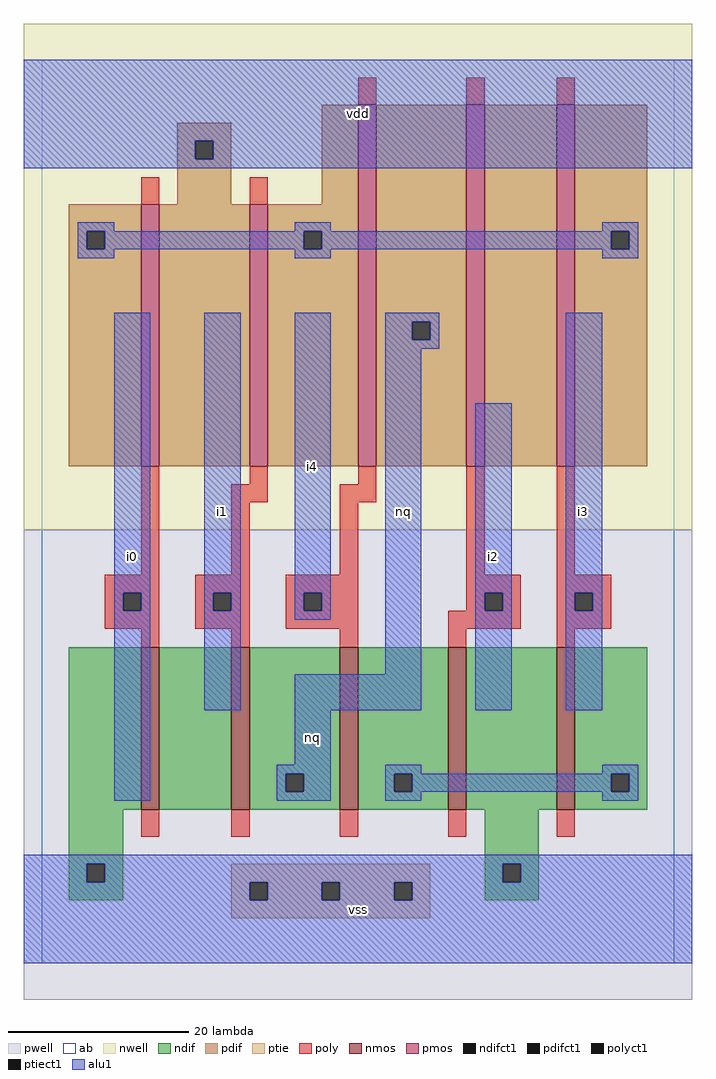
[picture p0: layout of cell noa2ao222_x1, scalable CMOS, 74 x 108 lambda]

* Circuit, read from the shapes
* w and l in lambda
.subckt noa2ao222_x1 i0 i1 i2 i3 i4 nq vdd vss
M1 n1 i0 vss vss nfet w=18 l=2
M2 nq i1 n1 vss nfet w=18 l=2
M3 n2 i4 nq vss nfet w=18 l=2
M4 vss i2 n2 vss nfet w=18 l=2
M5 n2 i3 vss vss nfet w=18 l=2
M6 vdd i0 n3 n4 pfet w=29 l=2
M7 n3 i1 vdd n4 pfet w=29 l=2
M8 nq i4 n3 n4 pfet w=40 l=2
M9 n5 i2 nq n4 pfet w=40 l=2
M10 n3 i3 n5 n4 pfet w=40 l=2
.ends

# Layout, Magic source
magic
tech scmos
<< ab >>
rect 0 0 70 100
<< nwell >>
rect -2 48 72 104
<< pwell >>
rect -2 -4 72 48
<< poly >>
rect 35 95 37 98
rect 47 95 49 98
rect 57 95 59 98
rect 11 84 13 87
rect 23 84 25 87
rect 11 43 13 55
rect 23 53 25 55
rect 35 53 37 55
rect 21 51 25 53
rect 33 51 37 53
rect 21 43 23 51
rect 33 43 35 51
rect 7 41 13 43
rect 7 39 9 41
rect 11 39 13 41
rect 7 37 13 39
rect 17 41 23 43
rect 17 39 19 41
rect 21 39 23 41
rect 17 37 23 39
rect 27 41 35 43
rect 27 39 29 41
rect 31 39 35 41
rect 47 43 49 55
rect 57 43 59 55
rect 47 41 53 43
rect 47 39 49 41
rect 51 39 53 41
rect 27 37 35 39
rect 11 35 13 37
rect 21 35 23 37
rect 33 35 35 37
rect 45 37 53 39
rect 57 41 63 43
rect 57 39 59 41
rect 61 39 63 41
rect 57 37 63 39
rect 45 35 47 37
rect 57 35 59 37
rect 11 14 13 17
rect 21 14 23 17
rect 33 14 35 17
rect 45 14 47 17
rect 57 14 59 17
<< ndif >>
rect 3 17 11 35
rect 13 17 21 35
rect 23 21 33 35
rect 23 19 27 21
rect 29 19 33 21
rect 23 17 33 19
rect 35 21 45 35
rect 35 19 39 21
rect 41 19 45 21
rect 35 17 45 19
rect 47 17 57 35
rect 59 21 67 35
rect 59 19 63 21
rect 65 19 67 21
rect 59 17 67 19
rect 3 11 9 17
rect 49 11 55 17
rect 3 9 5 11
rect 7 9 9 11
rect 3 7 9 9
rect 49 9 51 11
rect 53 9 55 11
rect 49 7 55 9
<< pdif >>
rect 15 91 21 93
rect 15 89 17 91
rect 19 89 21 91
rect 15 84 21 89
rect 31 84 35 95
rect 3 81 11 84
rect 3 79 5 81
rect 7 79 11 81
rect 3 55 11 79
rect 13 55 23 84
rect 25 81 35 84
rect 25 79 29 81
rect 31 79 35 81
rect 25 55 35 79
rect 37 71 47 95
rect 37 69 41 71
rect 43 69 47 71
rect 37 55 47 69
rect 49 55 57 95
rect 59 81 67 95
rect 59 79 63 81
rect 65 79 67 81
rect 59 55 67 79
<< alu1 >>
rect -2 91 72 100
rect -2 89 17 91
rect 19 89 72 91
rect -2 88 72 89
rect 4 81 8 82
rect 28 81 32 82
rect 62 81 66 82
rect 4 79 5 81
rect 7 79 29 81
rect 31 79 63 81
rect 65 79 66 81
rect 4 78 8 79
rect 28 78 32 79
rect 62 78 66 79
rect 8 41 12 72
rect 8 39 9 41
rect 11 39 12 41
rect 8 18 12 39
rect 18 41 22 72
rect 18 39 19 41
rect 21 39 22 41
rect 18 28 22 39
rect 28 41 32 72
rect 28 39 29 41
rect 31 39 32 41
rect 28 38 32 39
rect 38 71 44 72
rect 38 69 41 71
rect 43 69 44 71
rect 38 68 44 69
rect 38 32 42 68
rect 28 28 42 32
rect 48 41 52 62
rect 48 39 49 41
rect 51 39 52 41
rect 48 28 52 39
rect 58 41 62 72
rect 58 39 59 41
rect 61 39 62 41
rect 58 28 62 39
rect 28 22 32 28
rect 26 21 32 22
rect 26 19 27 21
rect 29 19 32 21
rect 26 18 32 19
rect 38 21 42 22
rect 62 21 66 22
rect 38 19 39 21
rect 41 19 63 21
rect 65 19 66 21
rect 38 18 42 19
rect 62 18 66 19
rect -2 11 72 12
rect -2 9 5 11
rect 7 9 51 11
rect 53 9 72 11
rect -2 7 23 9
rect 25 7 31 9
rect 33 7 39 9
rect 41 7 72 9
rect -2 0 72 7
<< ptie >>
rect 21 9 43 11
rect 21 7 23 9
rect 25 7 31 9
rect 33 7 39 9
rect 41 7 43 9
rect 21 5 43 7
<< nmos >>
rect 11 17 13 35
rect 21 17 23 35
rect 33 17 35 35
rect 45 17 47 35
rect 57 17 59 35
<< pmos >>
rect 11 55 13 84
rect 23 55 25 84
rect 35 55 37 95
rect 47 55 49 95
rect 57 55 59 95
<< polyct1 >>
rect 9 39 11 41
rect 19 39 21 41
rect 29 39 31 41
rect 49 39 51 41
rect 59 39 61 41
<< ndifct1 >>
rect 27 19 29 21
rect 39 19 41 21
rect 63 19 65 21
rect 5 9 7 11
rect 51 9 53 11
<< ptiect1 >>
rect 23 7 25 9
rect 31 7 33 9
rect 39 7 41 9
<< pdifct1 >>
rect 17 89 19 91
rect 5 79 7 81
rect 29 79 31 81
rect 41 69 43 71
rect 63 79 65 81
<< labels >>
rlabel alu1 10 45 10 45 6 i0
rlabel alu1 30 25 30 25 6 nq
rlabel alu1 30 55 30 55 6 i4
rlabel alu1 20 50 20 50 6 i1
rlabel alu1 35 6 35 6 6 vss
rlabel alu1 50 45 50 45 6 i2
rlabel alu1 40 50 40 50 6 nq
rlabel alu1 35 94 35 94 6 vdd
rlabel alu1 60 50 60 50 6 i3
<< end >>
